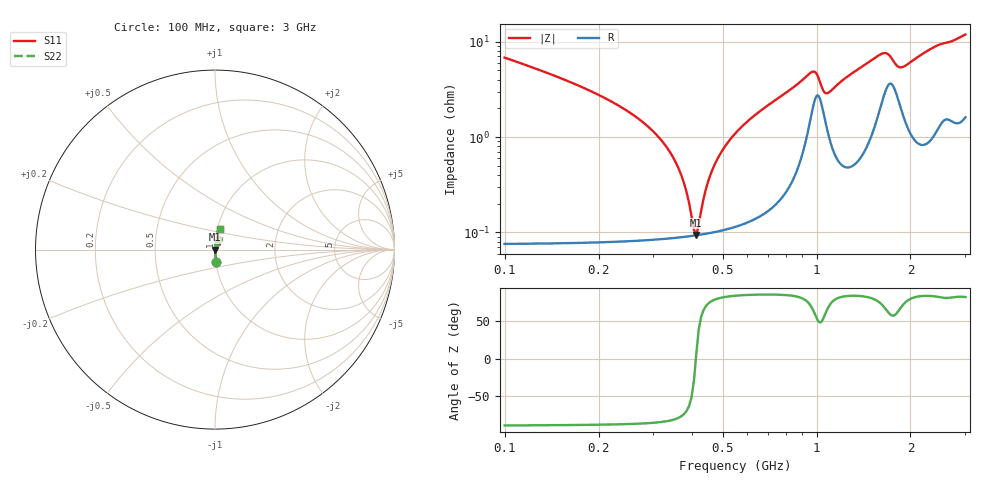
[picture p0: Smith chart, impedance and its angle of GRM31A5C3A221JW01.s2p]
!Murata Part Number: GRM31A5C3A221JW01
!These Parameters are Measured in Series Mode Connection
!Data Generated on Mar 30, 2021
!  o--ll--o
!Port1  Port2
!  o------o
!Operation Temp=25[degC], DC Bias Voltage=0[V]
!Freq. Start=100[MHz] Stop=3[GHz] 401[Steps]
# Hz S RI R 50
!Freq.(Hz) S11(Real) S11(Imag) S21(Real) S21(Imag) S12(Real) S12(Imag) S22(Real) S22(Imag)
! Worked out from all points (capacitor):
!   401 points, 100 MHz to 3 GHz, reference 50 ohm
!   read as one part in series: C = 220 pF near 114.5 MHz
!   lowest |Z| = 94 mohm at 411.8 MHz (marker M1)
!   series resonance near 410.5 MHz, so ESL is about 680 pH
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1e8  0.00537 -0.0677  0.9946 0.0677  0.9946 0.0677  0.00537 -0.0677
2.595e8  0.0011 -0.0168  0.9989 0.0168  0.9989 0.0168  0.0011 -0.0168
3.175e8  0.000935 -0.00925  0.9991 0.00925  0.9991 0.00925  0.000935 -0.00925
3.61e8  0.000904 -0.00461  0.9991 0.00461  0.9991 0.00461  0.000904 -0.00461
3.755e8  0.000906 -0.00319  0.9991 0.00319  0.9991 0.00319  0.000906 -0.00319
3.9725e8  0.000918 -0.00118  0.9991 0.00118  0.9991 0.00118  0.000918 -0.00118
4.1175e8  0.000932 0.000113  0.9991 -0.000113  0.9991 -0.000113  0.000932 0.000113
4.2625e8  0.00095 0.00136  0.999 -0.00136  0.999 -0.00136  0.00095 0.00136
4.48e8  0.000985 0.00317  0.999 -0.00317  0.999 -0.00317  0.000985 0.00317
4.77e8  0.00104 0.00548  0.999 -0.00548  0.999 -0.00548  0.00104 0.00548
5.205e8  0.00116 0.00877  0.9988 -0.00877  0.9988 -0.00877  0.00116 0.00877
5.8575e8  0.00141 0.0135  0.9986 -0.0135  0.9986 -0.0135  0.00141 0.0135
7.0175e8  0.00216 0.0216  0.9978 -0.0216  0.9978 -0.0216  0.00216 0.0216
9.6275e8  0.0188 0.0431  0.9812 -0.0431  0.9812 -0.0431  0.0188 0.0431
9.99e8  0.0275 0.0359  0.9725 -0.0359  0.9725 -0.0359  0.0275 0.0359
1.0715e9  0.0141 0.0247  0.9859 -0.0247  0.9859 -0.0247  0.0141 0.0247
1.55e9  0.0183 0.0652  0.9817 -0.0652  0.9817 -0.0652  0.0183 0.0652
1.67325e9  0.0352 0.0641  0.9648 -0.0641  0.9648 -0.0641  0.0352 0.0641
1.8545e9  0.0229 0.0474  0.9771 -0.0474  0.9771 -0.0474  0.0229 0.0474
2.03575e9  0.0135 0.0614  0.9865 -0.0614  0.9865 -0.0614  0.0135 0.0614
2.5215e9  0.0223 0.0907  0.9777 -0.0907  0.9777 -0.0907  0.0223 0.0907
3e9  0.029 0.1128  0.971 -0.1128  0.971 -0.1128  0.029 0.1128
